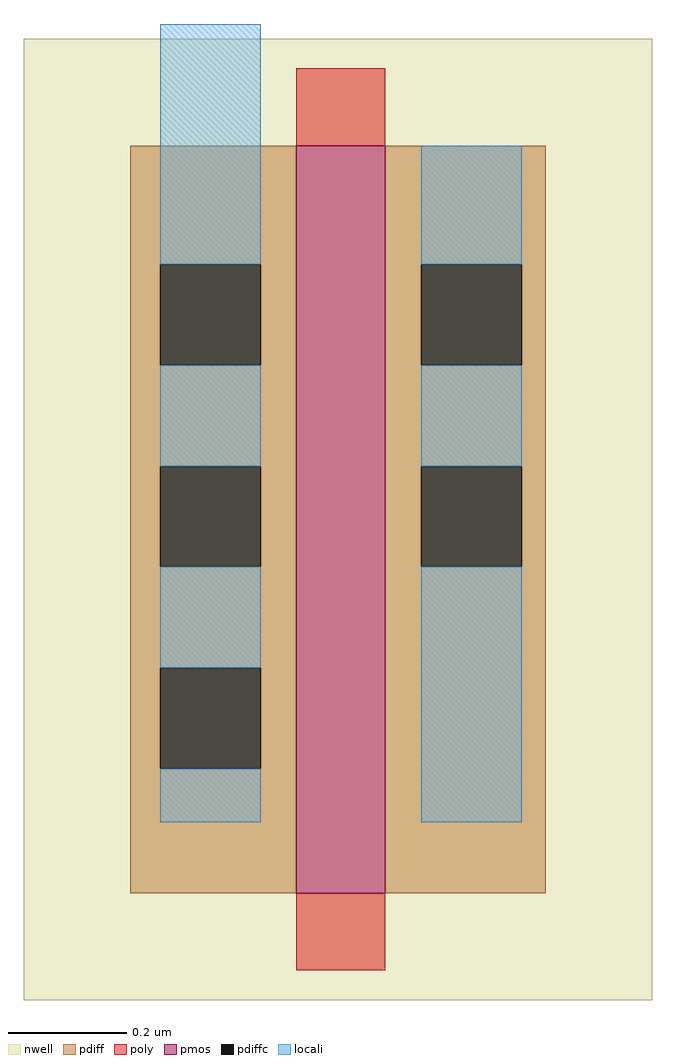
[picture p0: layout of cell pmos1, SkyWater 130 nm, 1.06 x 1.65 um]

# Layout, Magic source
magic
tech sky130A
magscale 1 2
<< nwell >>
rect 52 -287 264 37
<< pmos >>
rect 144 -251 174 1
<< pdiff >>
rect 88 -39 144 1
rect 88 -73 98 -39
rect 132 -73 144 -39
rect 88 -107 144 -73
rect 88 -141 98 -107
rect 132 -141 144 -107
rect 88 -175 144 -141
rect 88 -209 98 -175
rect 132 -209 144 -175
rect 88 -251 144 -209
rect 174 -39 228 1
rect 174 -73 186 -39
rect 220 -73 228 -39
rect 174 -107 228 -73
rect 174 -141 186 -107
rect 220 -141 228 -107
rect 174 -251 228 -141
<< pdiffc >>
rect 98 -73 132 -39
rect 98 -141 132 -107
rect 98 -209 132 -175
rect 186 -73 220 -39
rect 186 -141 220 -107
<< poly >>
rect 144 1 174 27
rect 144 -277 174 -251
<< locali >>
rect 98 -39 132 42
rect 98 -107 132 -73
rect 98 -175 132 -141
rect 98 -227 132 -209
rect 186 -39 220 1
rect 186 -107 220 -73
rect 186 -227 220 -141
<< end >>
